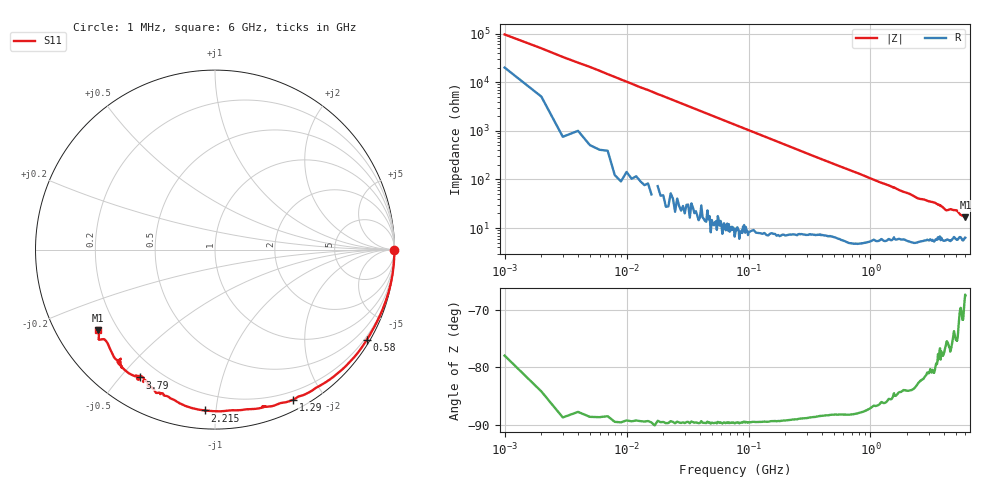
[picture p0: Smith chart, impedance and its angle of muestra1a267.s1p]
! COPPER MOUNTAIN TECHNOLOGIES, R60, 23103002, 24.3.3/3.0
! Date: 23/10/2026 13:34:33
! Data: Format [Calibration Info]
! Frequency		S11: Re/Im RO
# HZ S RI R 50
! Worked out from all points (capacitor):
!   1280 points, 1 MHz to 6 GHz, reference 50 ohm
!   read as one part to ground: C = 1.55 pF near 7 MHz
!   lowest |Z| = 16.6 ohm at 6 GHz (marker M1)
!   S11 on the Smith chart (normalised r, x): 1 MHz: open; 580 MHz: 0.11, -3.62; 1.29 GHz: 0.11, -1.64; 2.215 GHz: 0.10, -0.93; 3.79 GHz: 0.13, -0.56; 6 GHz: 0.13, -0.31
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1000000  0.9998 -0.00102
2.65e8  0.9632 -0.2504
5.8e8  0.8443 -0.5053
7.55e8  0.7593 -0.6175
1.01e9  0.5995 -0.7499
1.29e9  0.4362 -0.8356
1.505e9  0.3068 -0.8739
1.805e9  0.1251 -0.8951
2.075e9  0.0198 -0.9008
2.215e9  -0.0576 -0.8962
2.255e9  -0.0825 -0.8931
2.465e9  -0.1792 -0.8642
2.75e9  -0.2192 -0.8422
3.005e9  -0.2854 -0.8126
3.335e9  -0.3295 -0.7968
3.58e9  -0.3871 -0.729
3.68e9  -0.3962 -0.7193
3.755e9  -0.4337 -0.7202
3.79e9  -0.4201 -0.712
4.15e9  -0.541 -0.6303
4.26e9  -0.5389 -0.6231
4.505e9  -0.5215 -0.6562
4.82e9  -0.5265 -0.6087
5.12e9  -0.5473 -0.6155
5.255e9  -0.5773 -0.5686
5.465e9  -0.6109 -0.5052
5.745e9  -0.648 -0.4996
6e9  -0.6523 -0.4495
